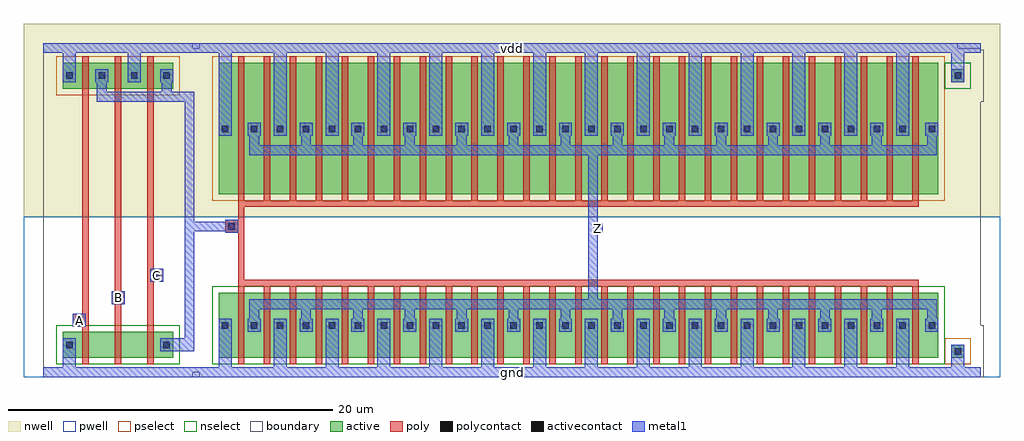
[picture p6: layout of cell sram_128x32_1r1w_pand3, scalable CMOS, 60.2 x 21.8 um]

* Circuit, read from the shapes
.subckt sram_128x32_1r1w_pand3 A B C Z gnd vdd
M1 sram_128x32_1r1w_pnand3_0_0/sram_128x32_1r1w_nmos_m1_w1_600_sm1_dactive_3/D A gnd gnd nfet w=1.6u l=0.4u
M2 sram_128x32_1r1w_pnand3_0_0/sram_128x32_1r1w_nmos_m1_w1_600_sactive_dactive_4/D B sram_128x32_1r1w_pnand3_0_0/sram_128x32_1r1w_nmos_m1_w1_600_sm1_dactive_3/D gnd nfet w=1.6u l=0.4u
M3 sram_128x32_1r1w_pdriver_2_1/A C sram_128x32_1r1w_pnand3_0_0/sram_128x32_1r1w_nmos_m1_w1_600_sactive_dactive_4/D gnd nfet w=1.6u l=0.4u
M4 Z sram_128x32_1r1w_pdriver_2_1/A gnd gnd nfet w=4u l=0.4u m=27
M5 sram_128x32_1r1w_pdriver_2_1/A A vdd vdd pfet w=1.6u l=0.4u
M6 vdd B sram_128x32_1r1w_pdriver_2_1/A vdd pfet w=1.6u l=0.4u
M7 sram_128x32_1r1w_pdriver_2_1/A C vdd vdd pfet w=1.6u l=0.4u
M8 Z sram_128x32_1r1w_pdriver_2_1/A vdd vdd pfet w=8.1u l=0.4u m=27
.ends

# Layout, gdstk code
import gdstk
lib = gdstk.Library(unit=1e-6, precision=1e-09)
def R(c, l, rs):  # rectangles x0, y0, x1, y1
    for r in rs: c.add(gdstk.rectangle(r[:2], r[2:], *l))
def A(c, l, x, y, w, h, nx, ny, dx, dy):  # array of equal rectangles
    R(c, l, [(x+i*dx, y+j*dy, x+i*dx+w, y+j*dy+h) for i in range(nx) for j in range(ny)])
pwell = (41, 0)
nwell = (42, 0)
active = (43, 0)
pselect = (44, 0)
nselect = (45, 0)
poly = (46, 0)
polycontact = (47, 0)
activecontact = (48, 0)
metal1 = (49, 0)
boundary = (63, 0)

sram_128x32_1r1w_contact = lib.new_cell('sram_128x32_1r1w_contact_11')
R(sram_128x32_1r1w_contact, nwell, [(-1.2,-1.2,2,2)])
R(sram_128x32_1r1w_contact, active, [(0,0,0.8,0.8)])
R(sram_128x32_1r1w_contact, pselect, [(-0.4,-0.4,1.2,1.2)])
R(sram_128x32_1r1w_contact, activecontact, [(0.2,0.2,0.6,0.6)])
R(sram_128x32_1r1w_contact, metal1, [(0,0,0.8,0.8)])
R(sram_128x32_1r1w_contact, boundary, [(-1.2,-1.2,2,2)])

sram_128x32_1r1w_pmos_m1 = lib.new_cell('sram_128x32_1r1w_pmos_m1_w1_600_sm1_dm1')
R(sram_128x32_1r1w_pmos_m1, nwell, [(-1.2,-1.2,4,2.8)])
R(sram_128x32_1r1w_pmos_m1, active, [(0,0,2.8,1.6)])
R(sram_128x32_1r1w_pmos_m1, pselect, [(-0.4,-0.4,3.2,2)])
R(sram_128x32_1r1w_pmos_m1, poly, [(1.2,-0.4,1.6,2), (1.2,-0.4,1.6,2)])
R(sram_128x32_1r1w_pmos_m1, metal1, [(0,0.4,0.8,1.2), (2,0.4,2.8,1.2)])
R(sram_128x32_1r1w_pmos_m1, boundary, [(-1.2,-1.2,4,2.8)])
sram_128x32_1r1w_pmos_m1.add(gdstk.Reference(sram_128x32_1r1w_contact, (0,0.4)))
sram_128x32_1r1w_pmos_m1.add(gdstk.Reference(sram_128x32_1r1w_contact, (2,0.4)))
sram_128x32_1r1w_pmos_m1.add(gdstk.Label('G', (1.4,0.8), layer=46, texttype=0))
sram_128x32_1r1w_pmos_m1.add(gdstk.Label('S', (0.4,0.8), layer=49, texttype=0))
sram_128x32_1r1w_pmos_m1.add(gdstk.Label('D', (2.4,0.8), layer=49, texttype=0))

c_sram_128x32_1r1w_contact = lib.new_cell('sram_128x32_1r1w_contact_10')
R(c_sram_128x32_1r1w_contact, pwell, [(-1.2,-1.2,2,2)])
R(c_sram_128x32_1r1w_contact, active, [(0,0,0.8,0.8)])
R(c_sram_128x32_1r1w_contact, nselect, [(-0.4,-0.4,1.2,1.2)])
R(c_sram_128x32_1r1w_contact, activecontact, [(0.2,0.2,0.6,0.6)])
R(c_sram_128x32_1r1w_contact, metal1, [(0,0,0.8,0.8)])
R(c_sram_128x32_1r1w_contact, boundary, [(-1.2,-1.2,2,2)])

sram_128x32_1r1w_nmos_m1 = lib.new_cell('sram_128x32_1r1w_nmos_m1_w1_600_sm1_dactive')
R(sram_128x32_1r1w_nmos_m1, pwell, [(-1.2,-1.2,4,2.8)])
R(sram_128x32_1r1w_nmos_m1, active, [(0,0,2.8,1.6), (2.1,0.5,2.7,1.1)])
R(sram_128x32_1r1w_nmos_m1, nselect, [(-0.4,-0.4,3.2,2)])
R(sram_128x32_1r1w_nmos_m1, poly, [(1.2,-0.4,1.6,2), (1.2,-0.4,1.6,2)])
R(sram_128x32_1r1w_nmos_m1, metal1, [(0,0.4,0.8,1.2)])
R(sram_128x32_1r1w_nmos_m1, boundary, [(-1.2,-1.2,4,2.8)])
sram_128x32_1r1w_nmos_m1.add(gdstk.Reference(c_sram_128x32_1r1w_contact, (0,0.4)))
sram_128x32_1r1w_nmos_m1.add(gdstk.Label('G', (1.4,0.8), layer=46, texttype=0))
sram_128x32_1r1w_nmos_m1.add(gdstk.Label('S', (0.4,0.8), layer=49, texttype=0))
sram_128x32_1r1w_nmos_m1.add(gdstk.Label('D', (2.4,0.8), layer=43, texttype=0))

c_sram_128x32_1r1w_nmos_m1 = lib.new_cell('sram_128x32_1r1w_nmos_m1_w1_600_sactive_dactive')
R(c_sram_128x32_1r1w_nmos_m1, pwell, [(-1.2,-1.2,4,2.8)])
R(c_sram_128x32_1r1w_nmos_m1, active, [(0,0,2.8,1.6), (0.1,0.5,0.7,1.1), (2.1,0.5,2.7,1.1)])
R(c_sram_128x32_1r1w_nmos_m1, nselect, [(-0.4,-0.4,3.2,2)])
R(c_sram_128x32_1r1w_nmos_m1, poly, [(1.2,-0.4,1.6,2), (1.2,-0.4,1.6,2)])
R(c_sram_128x32_1r1w_nmos_m1, boundary, [(-1.2,-1.2,4,2.8)])
c_sram_128x32_1r1w_nmos_m1.add(gdstk.Label('G', (1.4,0.8), layer=46, texttype=0))
c_sram_128x32_1r1w_nmos_m1.add(gdstk.Label('S', (0.4,0.8), layer=43, texttype=0))
c_sram_128x32_1r1w_nmos_m1.add(gdstk.Label('D', (2.4,0.8), layer=43, texttype=0))

c_sram_128x32_1r1w_nmos_m1_ = lib.new_cell('sram_128x32_1r1w_nmos_m1_w1_600_sactive_dm1')
R(c_sram_128x32_1r1w_nmos_m1_, pwell, [(-1.2,-1.2,4,2.8)])
R(c_sram_128x32_1r1w_nmos_m1_, active, [(0,0,2.8,1.6), (0.1,0.5,0.7,1.1)])
R(c_sram_128x32_1r1w_nmos_m1_, nselect, [(-0.4,-0.4,3.2,2)])
R(c_sram_128x32_1r1w_nmos_m1_, poly, [(1.2,-0.4,1.6,2), (1.2,-0.4,1.6,2)])
R(c_sram_128x32_1r1w_nmos_m1_, metal1, [(2,0.4,2.8,1.2)])
R(c_sram_128x32_1r1w_nmos_m1_, boundary, [(-1.2,-1.2,4,2.8)])
c_sram_128x32_1r1w_nmos_m1_.add(gdstk.Reference(c_sram_128x32_1r1w_contact, (2,0.4)))
c_sram_128x32_1r1w_nmos_m1_.add(gdstk.Label('G', (1.4,0.8), layer=46, texttype=0))
c_sram_128x32_1r1w_nmos_m1_.add(gdstk.Label('S', (0.4,0.8), layer=43, texttype=0))
c_sram_128x32_1r1w_nmos_m1_.add(gdstk.Label('D', (2.4,0.8), layer=49, texttype=0))

c_sram_128x32_1r1w_contact_ = lib.new_cell('sram_128x32_1r1w_contact_14')
R(c_sram_128x32_1r1w_contact_, poly, [(0,0,0.8,0.8)])
R(c_sram_128x32_1r1w_contact_, polycontact, [(0.2,0.2,0.6,0.6)])
R(c_sram_128x32_1r1w_contact_, metal1, [(0,0,0.8,0.8)])
R(c_sram_128x32_1r1w_contact_, boundary, [(0,0,0.8,0.8)])

sram_128x32_1r1w_pnand3_ = lib.new_cell('sram_128x32_1r1w_pnand3_0')
R(sram_128x32_1r1w_pnand3_, pwell, [(-1.2,-0.3,10.8,9.6)])
R(sram_128x32_1r1w_pnand3_, nwell, [(-1.2,9.6,10.8,21.5)])
A(sram_128x32_1r1w_pnand3_, poly, 2.4, 2.9, 0.4, 14.2, 3, 1, 2, 0)
R(sram_128x32_1r1w_pnand3_, poly, [(2.2,2.8,2.4,3.6), (4.4,4.2,4.6,5), (6.4,5.6,7,6.4)])
R(sram_128x32_1r1w_pnand3_, metal1, [(0,-0.3,9.6,0.3), (1.2,-0.3,2,1.3), (7.6,1.3,9,2.1), (8.7,1.3,9.3,17), (1.8,2.8,2.6,3.6), (4.2,4.2,5,5), (6.6,5.6,7.4,6.4), (3.3,16.7,3.9,17.3), (3.6,16.7,9,17.3), (7.3,16.7,7.9,17.3), (7.6,16.7,9,17.3), (8.7,16.7,9.3,17.3), (3.3,17,3.9,18.3), (7.3,17,7.9,18.3), (1.2,17.9,2,20.3), (5.2,17.9,6,20.3), (0,19.7,9.6,20.3)])
R(sram_128x32_1r1w_pnand3_, boundary, [(0,0,9.6,20), (0,0,9.6,20)])
sram_128x32_1r1w_pnand3_.add(gdstk.Reference(sram_128x32_1r1w_pmos_m1, (1.2,17.5)))
sram_128x32_1r1w_pnand3_.add(gdstk.Reference(sram_128x32_1r1w_pmos_m1, (3.2,17.5)))
sram_128x32_1r1w_pnand3_.add(gdstk.Reference(sram_128x32_1r1w_pmos_m1, (5.2,17.5)))
sram_128x32_1r1w_pnand3_.add(gdstk.Reference(sram_128x32_1r1w_nmos_m1, (1.2,0.9)))
sram_128x32_1r1w_pnand3_.add(gdstk.Reference(c_sram_128x32_1r1w_nmos_m1, (3.2,0.9)))
sram_128x32_1r1w_pnand3_.add(gdstk.Reference(c_sram_128x32_1r1w_nmos_m1_, (5.2,0.9)))
sram_128x32_1r1w_pnand3_.add(gdstk.Reference(c_sram_128x32_1r1w_contact_, (1.8,2.8)))
sram_128x32_1r1w_pnand3_.add(gdstk.Reference(c_sram_128x32_1r1w_contact_, (4.2,4.2)))
sram_128x32_1r1w_pnand3_.add(gdstk.Reference(c_sram_128x32_1r1w_contact_, (6.6,5.6)))
sram_128x32_1r1w_pnand3_.add(gdstk.Label('A', (2.2,3.2), layer=49, texttype=0))
sram_128x32_1r1w_pnand3_.add(gdstk.Label('B', (4.6,4.6), layer=49, texttype=0))
sram_128x32_1r1w_pnand3_.add(gdstk.Label('C', (7,6), layer=49, texttype=0))
sram_128x32_1r1w_pnand3_.add(gdstk.Label('Z', (9,17), layer=49, texttype=0))
sram_128x32_1r1w_pnand3_.add(gdstk.Label('gnd', (4.8,0), layer=49, texttype=0))
sram_128x32_1r1w_pnand3_.add(gdstk.Label('vdd', (4.8,20), layer=49, texttype=0))

sram_128x32_1r1w_pmos_m2 = lib.new_cell('sram_128x32_1r1w_pmos_m27_w8_100_sm1_dm1_da_p')
R(sram_128x32_1r1w_pmos_m2, nwell, [(-1.2,-1.2,45.6,9.3)])
R(sram_128x32_1r1w_pmos_m2, active, [(0,0,44.4,8.1)])
R(sram_128x32_1r1w_pmos_m2, pselect, [(-0.4,-0.4,44.8,8.5)])
A(sram_128x32_1r1w_pmos_m2, poly, 1.2, -0.4, 0.4, 8.9, 27, 1, 1.6, 0)
R(sram_128x32_1r1w_pmos_m2, poly, [(1.2,-0.8,43.2,-0.4)])
A(sram_128x32_1r1w_pmos_m2, metal1, 1.9, 2.8, 0.6, 1.2, 13, 1, 3.2, 0)
A(sram_128x32_1r1w_pmos_m2, metal1, 3.4, 3.6, 0.8, 0.8, 13, 1, 3.2, 0)
R(sram_128x32_1r1w_pmos_m2, metal1, [(1.9,2.4,44.3,3), (43.7,2.8,44.3,4), (0,3.6,0.8,4.4)])
R(sram_128x32_1r1w_pmos_m2, boundary, [(-1.2,-1.2,45.6,9.3)])
sram_128x32_1r1w_pmos_m2.add(gdstk.Reference(sram_128x32_1r1w_contact, (0,3.6)))
sram_128x32_1r1w_pmos_m2.add(gdstk.Reference(sram_128x32_1r1w_contact, (1.8,3.6)))
sram_128x32_1r1w_pmos_m2.add(gdstk.Reference(sram_128x32_1r1w_contact, (3.4,3.6)))
sram_128x32_1r1w_pmos_m2.add(gdstk.Reference(sram_128x32_1r1w_contact, (5,3.6)))
sram_128x32_1r1w_pmos_m2.add(gdstk.Reference(sram_128x32_1r1w_contact, (6.6,3.6)))
sram_128x32_1r1w_pmos_m2.add(gdstk.Reference(sram_128x32_1r1w_contact, (8.2,3.6)))
sram_128x32_1r1w_pmos_m2.add(gdstk.Reference(sram_128x32_1r1w_contact, (9.8,3.6)))
sram_128x32_1r1w_pmos_m2.add(gdstk.Reference(sram_128x32_1r1w_contact, (11.4,3.6)))
sram_128x32_1r1w_pmos_m2.add(gdstk.Reference(sram_128x32_1r1w_contact, (13,3.6)))
sram_128x32_1r1w_pmos_m2.add(gdstk.Reference(sram_128x32_1r1w_contact, (14.6,3.6)))
sram_128x32_1r1w_pmos_m2.add(gdstk.Reference(sram_128x32_1r1w_contact, (16.2,3.6)))
sram_128x32_1r1w_pmos_m2.add(gdstk.Reference(sram_128x32_1r1w_contact, (17.8,3.6)))
sram_128x32_1r1w_pmos_m2.add(gdstk.Reference(sram_128x32_1r1w_contact, (19.4,3.6)))
sram_128x32_1r1w_pmos_m2.add(gdstk.Reference(sram_128x32_1r1w_contact, (21,3.6)))
sram_128x32_1r1w_pmos_m2.add(gdstk.Reference(sram_128x32_1r1w_contact, (22.6,3.6)))
sram_128x32_1r1w_pmos_m2.add(gdstk.Reference(sram_128x32_1r1w_contact, (24.2,3.6)))
sram_128x32_1r1w_pmos_m2.add(gdstk.Reference(sram_128x32_1r1w_contact, (25.8,3.6)))
sram_128x32_1r1w_pmos_m2.add(gdstk.Reference(sram_128x32_1r1w_contact, (27.4,3.6)))
sram_128x32_1r1w_pmos_m2.add(gdstk.Reference(sram_128x32_1r1w_contact, (29,3.6)))
sram_128x32_1r1w_pmos_m2.add(gdstk.Reference(sram_128x32_1r1w_contact, (30.6,3.6)))
sram_128x32_1r1w_pmos_m2.add(gdstk.Reference(sram_128x32_1r1w_contact, (32.2,3.6)))
sram_128x32_1r1w_pmos_m2.add(gdstk.Reference(sram_128x32_1r1w_contact, (33.8,3.6)))
sram_128x32_1r1w_pmos_m2.add(gdstk.Reference(sram_128x32_1r1w_contact, (35.4,3.6)))
sram_128x32_1r1w_pmos_m2.add(gdstk.Reference(sram_128x32_1r1w_contact, (37,3.6)))
sram_128x32_1r1w_pmos_m2.add(gdstk.Reference(sram_128x32_1r1w_contact, (38.6,3.6)))
sram_128x32_1r1w_pmos_m2.add(gdstk.Reference(sram_128x32_1r1w_contact, (40.2,3.6)))
sram_128x32_1r1w_pmos_m2.add(gdstk.Reference(sram_128x32_1r1w_contact, (41.8,3.6)))
sram_128x32_1r1w_pmos_m2.add(gdstk.Reference(sram_128x32_1r1w_contact, (43.6,3.6)))
sram_128x32_1r1w_pmos_m2.add(gdstk.Label('G', (22.2,-0.6), layer=46, texttype=0))
sram_128x32_1r1w_pmos_m2.add(gdstk.Label('S', (42.2,4), layer=49, texttype=0))
sram_128x32_1r1w_pmos_m2.add(gdstk.Label('S', (23,4), layer=49, texttype=0))
sram_128x32_1r1w_pmos_m2.add(gdstk.Label('S', (39,4), layer=49, texttype=0))
sram_128x32_1r1w_pmos_m2.add(gdstk.Label('S', (0.4,4), layer=49, texttype=0))
sram_128x32_1r1w_pmos_m2.add(gdstk.Label('S', (16.6,4), layer=49, texttype=0))
sram_128x32_1r1w_pmos_m2.add(gdstk.Label('S', (26.2,4), layer=49, texttype=0))
sram_128x32_1r1w_pmos_m2.add(gdstk.Label('S', (29.4,4), layer=49, texttype=0))
sram_128x32_1r1w_pmos_m2.add(gdstk.Label('S', (10.2,4), layer=49, texttype=0))
sram_128x32_1r1w_pmos_m2.add(gdstk.Label('S', (3.8,4), layer=49, texttype=0))
sram_128x32_1r1w_pmos_m2.add(gdstk.Label('S', (13.4,4), layer=49, texttype=0))
sram_128x32_1r1w_pmos_m2.add(gdstk.Label('S', (35.8,4), layer=49, texttype=0))
sram_128x32_1r1w_pmos_m2.add(gdstk.Label('S', (7,4), layer=49, texttype=0))
sram_128x32_1r1w_pmos_m2.add(gdstk.Label('S', (32.6,4), layer=49, texttype=0))
sram_128x32_1r1w_pmos_m2.add(gdstk.Label('S', (19.8,4), layer=49, texttype=0))
sram_128x32_1r1w_pmos_m2.add(gdstk.Label('D', (23.1,2.7), layer=49, texttype=0))

sram_128x32_1r1w_nmos_m2 = lib.new_cell('sram_128x32_1r1w_nmos_m27_w4_000_sm1_dm1_da_p')
R(sram_128x32_1r1w_nmos_m2, pwell, [(-1.2,-1.2,45.6,5.2)])
R(sram_128x32_1r1w_nmos_m2, active, [(0,0,44.4,4)])
R(sram_128x32_1r1w_nmos_m2, nselect, [(-0.4,-0.4,44.8,4.4)])
A(sram_128x32_1r1w_nmos_m2, poly, 1.2, -0.4, 0.4, 4.8, 27, 1, 1.6, 0)
R(sram_128x32_1r1w_nmos_m2, poly, [(1.2,4.4,43.2,4.8)])
A(sram_128x32_1r1w_nmos_m2, metal1, 3.4, 1.6, 0.8, 0.8, 13, 1, 3.2, 0)
A(sram_128x32_1r1w_nmos_m2, metal1, 1.9, 2, 0.6, 1.3, 13, 1, 3.2, 0)
R(sram_128x32_1r1w_nmos_m2, metal1, [(0,1.6,0.8,2.4), (43.7,2,44.3,3.3), (1.9,3,44.3,3.6)])
R(sram_128x32_1r1w_nmos_m2, boundary, [(-1.2,-1.2,45.6,5.2)])
sram_128x32_1r1w_nmos_m2.add(gdstk.Reference(c_sram_128x32_1r1w_contact, (0,1.6)))
sram_128x32_1r1w_nmos_m2.add(gdstk.Reference(c_sram_128x32_1r1w_contact, (1.8,1.6)))
sram_128x32_1r1w_nmos_m2.add(gdstk.Reference(c_sram_128x32_1r1w_contact, (3.4,1.6)))
sram_128x32_1r1w_nmos_m2.add(gdstk.Reference(c_sram_128x32_1r1w_contact, (5,1.6)))
sram_128x32_1r1w_nmos_m2.add(gdstk.Reference(c_sram_128x32_1r1w_contact, (6.6,1.6)))
sram_128x32_1r1w_nmos_m2.add(gdstk.Reference(c_sram_128x32_1r1w_contact, (8.2,1.6)))
sram_128x32_1r1w_nmos_m2.add(gdstk.Reference(c_sram_128x32_1r1w_contact, (9.8,1.6)))
sram_128x32_1r1w_nmos_m2.add(gdstk.Reference(c_sram_128x32_1r1w_contact, (11.4,1.6)))
sram_128x32_1r1w_nmos_m2.add(gdstk.Reference(c_sram_128x32_1r1w_contact, (13,1.6)))
sram_128x32_1r1w_nmos_m2.add(gdstk.Reference(c_sram_128x32_1r1w_contact, (14.6,1.6)))
sram_128x32_1r1w_nmos_m2.add(gdstk.Reference(c_sram_128x32_1r1w_contact, (16.2,1.6)))
sram_128x32_1r1w_nmos_m2.add(gdstk.Reference(c_sram_128x32_1r1w_contact, (17.8,1.6)))
sram_128x32_1r1w_nmos_m2.add(gdstk.Reference(c_sram_128x32_1r1w_contact, (19.4,1.6)))
sram_128x32_1r1w_nmos_m2.add(gdstk.Reference(c_sram_128x32_1r1w_contact, (21,1.6)))
sram_128x32_1r1w_nmos_m2.add(gdstk.Reference(c_sram_128x32_1r1w_contact, (22.6,1.6)))
sram_128x32_1r1w_nmos_m2.add(gdstk.Reference(c_sram_128x32_1r1w_contact, (24.2,1.6)))
sram_128x32_1r1w_nmos_m2.add(gdstk.Reference(c_sram_128x32_1r1w_contact, (25.8,1.6)))
sram_128x32_1r1w_nmos_m2.add(gdstk.Reference(c_sram_128x32_1r1w_contact, (27.4,1.6)))
sram_128x32_1r1w_nmos_m2.add(gdstk.Reference(c_sram_128x32_1r1w_contact, (29,1.6)))
sram_128x32_1r1w_nmos_m2.add(gdstk.Reference(c_sram_128x32_1r1w_contact, (30.6,1.6)))
sram_128x32_1r1w_nmos_m2.add(gdstk.Reference(c_sram_128x32_1r1w_contact, (32.2,1.6)))
sram_128x32_1r1w_nmos_m2.add(gdstk.Reference(c_sram_128x32_1r1w_contact, (33.8,1.6)))
sram_128x32_1r1w_nmos_m2.add(gdstk.Reference(c_sram_128x32_1r1w_contact, (35.4,1.6)))
sram_128x32_1r1w_nmos_m2.add(gdstk.Reference(c_sram_128x32_1r1w_contact, (37,1.6)))
sram_128x32_1r1w_nmos_m2.add(gdstk.Reference(c_sram_128x32_1r1w_contact, (38.6,1.6)))
sram_128x32_1r1w_nmos_m2.add(gdstk.Reference(c_sram_128x32_1r1w_contact, (40.2,1.6)))
sram_128x32_1r1w_nmos_m2.add(gdstk.Reference(c_sram_128x32_1r1w_contact, (41.8,1.6)))
sram_128x32_1r1w_nmos_m2.add(gdstk.Reference(c_sram_128x32_1r1w_contact, (43.6,1.6)))
sram_128x32_1r1w_nmos_m2.add(gdstk.Label('G', (22.2,4.6), layer=46, texttype=0))
sram_128x32_1r1w_nmos_m2.add(gdstk.Label('S', (29.4,2), layer=49, texttype=0))
sram_128x32_1r1w_nmos_m2.add(gdstk.Label('S', (42.2,2), layer=49, texttype=0))
sram_128x32_1r1w_nmos_m2.add(gdstk.Label('S', (7,2), layer=49, texttype=0))
sram_128x32_1r1w_nmos_m2.add(gdstk.Label('S', (13.4,2), layer=49, texttype=0))
sram_128x32_1r1w_nmos_m2.add(gdstk.Label('S', (19.8,2), layer=49, texttype=0))
sram_128x32_1r1w_nmos_m2.add(gdstk.Label('S', (23,2), layer=49, texttype=0))
sram_128x32_1r1w_nmos_m2.add(gdstk.Label('S', (32.6,2), layer=49, texttype=0))
sram_128x32_1r1w_nmos_m2.add(gdstk.Label('S', (10.2,2), layer=49, texttype=0))
sram_128x32_1r1w_nmos_m2.add(gdstk.Label('S', (3.8,2), layer=49, texttype=0))
sram_128x32_1r1w_nmos_m2.add(gdstk.Label('S', (35.8,2), layer=49, texttype=0))
sram_128x32_1r1w_nmos_m2.add(gdstk.Label('S', (16.6,2), layer=49, texttype=0))
sram_128x32_1r1w_nmos_m2.add(gdstk.Label('S', (39,2), layer=49, texttype=0))
sram_128x32_1r1w_nmos_m2.add(gdstk.Label('S', (0.4,2), layer=49, texttype=0))
sram_128x32_1r1w_nmos_m2.add(gdstk.Label('S', (26.2,2), layer=49, texttype=0))
sram_128x32_1r1w_nmos_m2.add(gdstk.Label('D', (23.1,3.3), layer=49, texttype=0))

c_sram_128x32_1r1w_contact__ = lib.new_cell('sram_128x32_1r1w_contact_12')
R(c_sram_128x32_1r1w_contact__, nwell, [(-1.2,-1.2,2,2)])
R(c_sram_128x32_1r1w_contact__, active, [(0,0,0.8,0.8)])
R(c_sram_128x32_1r1w_contact__, nselect, [(-0.4,-0.4,1.2,1.2)])
R(c_sram_128x32_1r1w_contact__, activecontact, [(0.2,0.2,0.6,0.6)])
R(c_sram_128x32_1r1w_contact__, metal1, [(0,0,0.8,0.8)])
R(c_sram_128x32_1r1w_contact__, boundary, [(-1.2,-1.2,2,2)])

c_sram_128x32_1r1w_contact___ = lib.new_cell('sram_128x32_1r1w_contact_13')
R(c_sram_128x32_1r1w_contact___, pwell, [(-1.2,-1.2,2,2)])
R(c_sram_128x32_1r1w_contact___, active, [(0,0,0.8,0.8)])
R(c_sram_128x32_1r1w_contact___, pselect, [(-0.4,-0.4,1.2,1.2)])
R(c_sram_128x32_1r1w_contact___, activecontact, [(0.2,0.2,0.6,0.6)])
R(c_sram_128x32_1r1w_contact___, metal1, [(0,0,0.8,0.8)])
R(c_sram_128x32_1r1w_contact___, boundary, [(-1.2,-1.2,2,2)])

sram_128x32_1r1w_pinv_13 = lib.new_cell('sram_128x32_1r1w_pinv_13')
R(sram_128x32_1r1w_pinv_13, pwell, [(-1.2,-0.3,49.4,9.6)])
R(sram_128x32_1r1w_pinv_13, nwell, [(-1.2,9.6,49.4,21.5)])
R(sram_128x32_1r1w_pinv_13, poly, [(2.4,5.7,2.8,10.2), (2,8.6,2.4,9.4)])
A(sram_128x32_1r1w_pinv_13, metal1, 4.6, -0.3, 0.8, 2.8, 13, 1, 3.2, 0)
A(sram_128x32_1r1w_pinv_13, metal1, 4.6, 14.6, 0.8, 5.7, 13, 1, 3.2, 0)
R(sram_128x32_1r1w_pinv_13, metal1, [(0,-0.3,48.2,0.3), (1.2,-0.3,2,2.5), (46.4,0,47.2,1.3), (24,3.9,24.6,14), (1.6,8.6,2.4,9.4), (24.3,8.6,24.9,9.2), (1.2,14.6,2,20.3), (46.4,18.3,47.2,20), (0,19.7,48.2,20.3)])
R(sram_128x32_1r1w_pinv_13, boundary, [(0,0,48.2,20), (0,0,48.2,20)])
sram_128x32_1r1w_pinv_13.add(gdstk.Reference(sram_128x32_1r1w_pmos_m2, (1.2,11)))
sram_128x32_1r1w_pinv_13.add(gdstk.Reference(sram_128x32_1r1w_nmos_m2, (1.2,0.9)))
sram_128x32_1r1w_pinv_13.add(gdstk.Reference(c_sram_128x32_1r1w_contact__, (46.4,17.9)))
sram_128x32_1r1w_pinv_13.add(gdstk.Reference(c_sram_128x32_1r1w_contact___, (46.4,0.9)))
sram_128x32_1r1w_pinv_13.add(gdstk.Reference(c_sram_128x32_1r1w_contact_, (1.6,8.6)))
sram_128x32_1r1w_pinv_13.add(gdstk.Label('A', (2,9), layer=49, texttype=0))
sram_128x32_1r1w_pinv_13.add(gdstk.Label('Z', (24.6,8.9), layer=49, texttype=0))
sram_128x32_1r1w_pinv_13.add(gdstk.Label('gnd', (24.1,0), layer=49, texttype=0))
sram_128x32_1r1w_pinv_13.add(gdstk.Label('vdd', (24.1,20), layer=49, texttype=0))

sram_128x32_1r1w_pdriver = lib.new_cell('sram_128x32_1r1w_pdriver_2')
R(sram_128x32_1r1w_pdriver, pwell, [(-1.2,-0.3,49.4,9.6)])
R(sram_128x32_1r1w_pdriver, nwell, [(-1.2,9.6,49.4,21.5)])
R(sram_128x32_1r1w_pdriver, metal1, [(0,-0.3,48.2,0.3), (1.6,8.6,2.4,9.4), (24.3,8.6,24.9,9.2), (0,19.7,48.2,20.3)])
R(sram_128x32_1r1w_pdriver, boundary, [(0,0,48.2,20), (0,0,48.2,20)])
sram_128x32_1r1w_pdriver.add(gdstk.Reference(sram_128x32_1r1w_pinv_13, (0,0)))
sram_128x32_1r1w_pdriver.add(gdstk.Label('Z', (24.6,8.9), layer=49, texttype=0))
sram_128x32_1r1w_pdriver.add(gdstk.Label('A', (2,9), layer=49, texttype=0))
sram_128x32_1r1w_pdriver.add(gdstk.Label('gnd', (24.1,0), layer=49, texttype=0))
sram_128x32_1r1w_pdriver.add(gdstk.Label('vdd', (24.1,20), layer=49, texttype=0))

sram_128x32_1r1w_pand3 = lib.new_cell('sram_128x32_1r1w_pand3')
R(sram_128x32_1r1w_pand3, metal1, [(0,-0.3,57.8,0.3), (1.8,2.8,2.6,3.6), (4.2,4.2,5,5), (6.6,5.6,7.4,6.4), (33.9,8.6,34.5,9.2), (8.7,8.7,9.3,9.3), (9,8.7,11.6,9.3), (8.7,9,9.3,17), (0,19.7,57.8,20.3)])
R(sram_128x32_1r1w_pand3, boundary, [(0,0,57.8,20), (0,0,57.8,20)])
sram_128x32_1r1w_pand3.add(gdstk.Reference(sram_128x32_1r1w_pnand3_, (0,0)))
sram_128x32_1r1w_pand3.add(gdstk.Reference(sram_128x32_1r1w_pdriver, (9.6,0)))
sram_128x32_1r1w_pand3.add(gdstk.Label('Z', (34.2,8.9), layer=49, texttype=0))
sram_128x32_1r1w_pand3.add(gdstk.Label('A', (2.2,3.2), layer=49, texttype=0))
sram_128x32_1r1w_pand3.add(gdstk.Label('B', (4.6,4.6), layer=49, texttype=0))
sram_128x32_1r1w_pand3.add(gdstk.Label('C', (7,6), layer=49, texttype=0))
sram_128x32_1r1w_pand3.add(gdstk.Label('gnd', (28.9,0), layer=49, texttype=0))
sram_128x32_1r1w_pand3.add(gdstk.Label('vdd', (28.9,20), layer=49, texttype=0))

lib.write_gds('sram_128x32_1r1w_pand3.gds')
